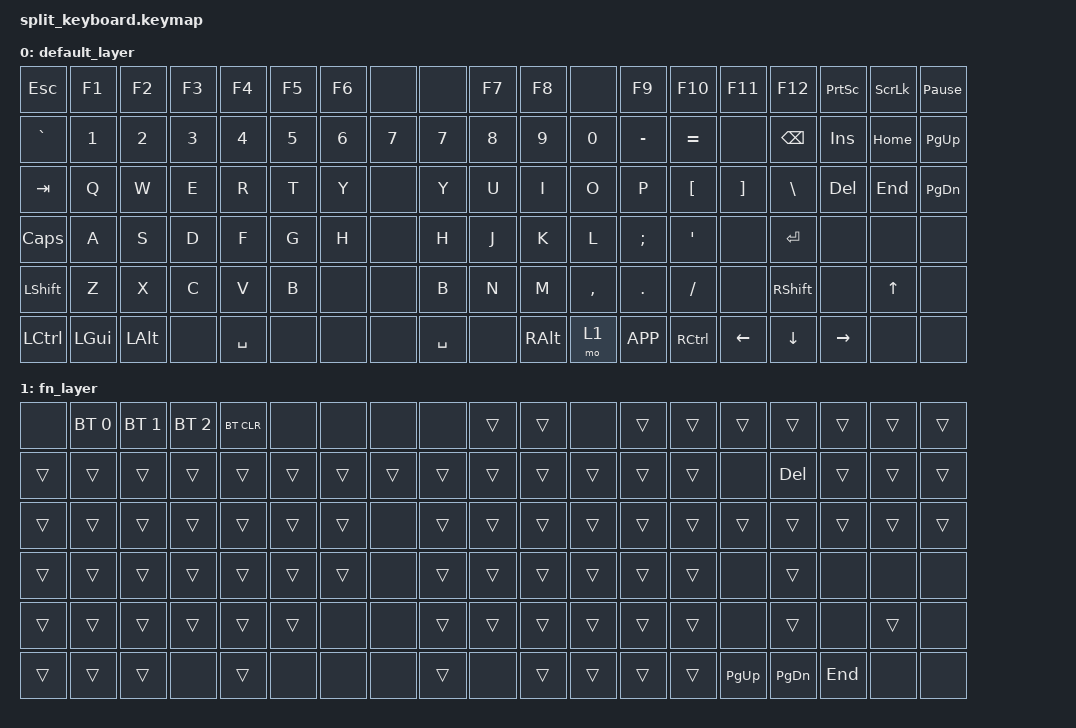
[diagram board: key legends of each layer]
#include <behaviors.dtsi>
#include <dt-bindings/zmk/keys.h>
#include <dt-bindings/zmk/bt.h>

/ {
    keymap {
        compatible = "zmk,keymap";

        /*
         * Default Layer (0)
         * 왼쪽 매트릭스(image_387063.png): 6행 x 8열 (Col 0~7)
         * 오른쪽 매트릭스(image_386d92.png): 6행 x 11열 (Col 8~18)
         */
        default_layer {
            bindings = <
/* -------------------------- 물리적 1행 (Left Rows 0 / Right Rows 6) -------------------------- */
&kp ESC   &kp F1   &kp F2   &kp F3   &kp F4   &kp F5   &kp F6   &none     &none &kp F7   &kp F8   &none    &kp F9   &kp F10  &kp F11  &kp F12  &kp PSCRN &kp SLCK &kp PAUSE_BREAK

/* -------------------------- 물리적 2행 (Left Rows 1 / Right Rows 7) -------------------------- */
&kp GRAVE &kp N1   &kp N2   &kp N3   &kp N4   &kp N5   &kp N6   &kp N7    &kp N7 &kp N8   &kp N9   &kp N0   &kp MINUS &kp EQUAL &none    &kp BSPC &kp INS   &kp HOME &kp PG_UP

/* -------------------------- 물리적 3행 (Left Rows 2 / Right Rows 8) -------------------------- */
&kp TAB   &kp Q    &kp W    &kp E    &kp R    &kp T    &kp Y    &none     &kp Y &kp U    &kp I    &kp O    &kp P    &kp LBKT &kp RBKT &kp BSLH &kp DEL   &kp END  &kp PG_DN

/* -------------------------- 물리적 4행 (Left Rows 3 / Right Rows 9) -------------------------- */
&kp CLCK  &kp A    &kp S    &kp D    &kp F    &kp G    &kp H    &none     &kp H &kp J    &kp K    &kp L    &kp SEMI &kp SQT  &none    &kp ENTER &none    &none    &none

/* -------------------------- 물리적 5행 (Left Rows 4 / Right Rows 10) ------------------------- */
&kp LSHFT &kp Z    &kp X    &kp C    &kp V    &kp B    &none    &none     &kp B &kp N    &kp M    &kp COMMA &kp DOT &kp FSLH &none    &kp RSHFT &none    &kp UP   &none

/* -------------------------- 물리적 6행 (Left Rows 5 / Right Rows 11) ------------------------- */
&kp LCTRL &kp LGUI &kp LALT &none    &kp SPACE &none   &none    &none     &kp SPACE &none &kp RALT &mo 1    &kp K_APP &kp RCTRL &kp LEFT &kp DOWN &kp RIGHT &none    &none
            >;
        };

        /*
         * Function Layer (1)
         * 하드웨어 핀 제어 및 특수 기능을 위한 레이어입니다.
         */
        fn_layer {
            bindings = <
/* 1행 */
&none     &bt BT_SEL 0 &bt BT_SEL 1 &bt BT_SEL 2 &bt BT_CLR &none &none &none    &none &trans &trans &none &trans &trans &trans &trans &trans &trans &trans
/* 2행 */
&trans    &trans       &trans       &trans       &trans     &trans &trans &trans   &trans &trans &trans &trans &trans &trans &none &kp DEL &trans &trans &trans
/* 3행 */
&trans    &trans       &trans       &trans       &trans     &trans &trans &none    &trans &trans &trans &trans &trans &trans &trans &trans &trans &trans &trans
/* 4행 */
&trans    &trans       &trans       &trans       &trans     &trans &trans &none    &trans &trans &trans &trans &trans &trans &none &trans &none &none &none
/* 5행 */
&trans    &trans       &trans       &trans       &trans     &trans &none &none     &trans &trans &trans &trans &trans &trans &none &trans &none &trans &none
/* 6행 */
&trans    &trans       &trans       &none        &trans     &none &none &none      &trans &none &trans &trans &trans &trans &kp PG_UP &kp PG_DN &kp END &none &none
            >;
        };
    };
};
